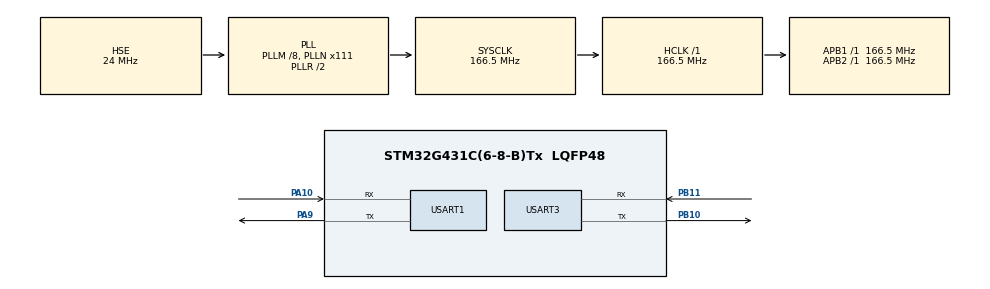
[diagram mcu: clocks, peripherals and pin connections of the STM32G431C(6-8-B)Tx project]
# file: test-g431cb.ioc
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Dma.Request0=USART3_RX
Dma.USART3_RX.0.Direction=DMA_PERIPH_TO_MEMORY
Dma.USART3_RX.0.EventEnable=DISABLE
Dma.USART3_RX.0.Instance=DMA1_Channel1
Dma.USART3_RX.0.MemDataAlignment=DMA_MDATAALIGN_BYTE
Dma.USART3_RX.0.MemInc=DMA_MINC_ENABLE
Dma.USART3_RX.0.Mode=DMA_NORMAL
Dma.USART3_RX.0.PeriphDataAlignment=DMA_PDATAALIGN_BYTE
Dma.USART3_RX.0.PeriphInc=DMA_PINC_DISABLE
Dma.USART3_RX.0.Polarity=HAL_DMAMUX_REQ_GEN_RISING
Dma.USART3_RX.0.Priority=DMA_PRIORITY_LOW
Dma.USART3_RX.0.RequestNumber=1
Dma.USART3_RX.0.SignalID=NONE
Dma.USART3_RX.0.SyncEnable=DISABLE
Dma.USART3_RX.0.SyncPolarity=HAL_DMAMUX_SYNC_NO_EVENT
Dma.USART3_RX.0.SyncRequestNumber=1
Dma.USART3_RX.0.SyncSignalID=NONE
Mcu.Family=STM32G4
Mcu.Name=STM32G431C(6-8-B)Tx
Mcu.Package=LQFP48
NVIC.DMA1_Channel1_IRQn=true\:0\:0\:false\:false\:true\:false\:true\:true
NVIC.PriorityGroup=NVIC_PRIORITYGROUP_4
NVIC.USART3_IRQn=true\:0\:0\:false\:false\:true\:true\:true\:true
PA10.Mode=Asynchronous
PA10.Signal=USART1_RX
PA9.Mode=Asynchronous
PA9.Signal=USART1_TX
PB10.Mode=Asynchronous
PB10.Signal=USART3_TX
PB11.Mode=Asynchronous
PB11.Signal=USART3_RX
PF0-OSC_IN.Mode=HSE-External-Oscillator
PF0-OSC_IN.Signal=RCC_OSC_IN
PF1-OSC_OUT.Mode=HSE-External-Oscillator
PF1-OSC_OUT.Signal=RCC_OSC_OUT
ProjectManager.HeapSize=0x200
ProjectManager.StackSize=0x400
ProjectManager.TargetToolchain=STM32CubeIDE
RCC.ADC12Freq_Value=166500000
RCC.AHBFreq_Value=166500000
RCC.APB1Freq_Value=166500000
RCC.APB1TimFreq_Value=166500000
RCC.APB2Freq_Value=166500000
RCC.APB2TimFreq_Value=166500000
RCC.CortexFreq_Value=166500000
RCC.EXTERNAL_CLOCK_VALUE=12288000
RCC.HCLKFreq_Value=166500000
RCC.HSE_VALUE=24000000
RCC.HSI48_VALUE=48000000
RCC.HSI_VALUE=16000000
RCC.LSE_VALUE=32768
RCC.PLLM=RCC_PLLM_DIV8
RCC.PLLN=111
RCC.PLLSourceVirtual=RCC_PLLSOURCE_HSE
RCC.SYSCLKFreq_VALUE=166500000
RCC.SYSCLKSource=RCC_SYSCLKSOURCE_PLLCLK
RCC.USBFreq_Value=166500000
RCC.VCOOutputFreq_Value=333000000
USART1.VirtualMode-Asynchronous=VM_ASYNC
USART3.VirtualMode-Asynchronous=VM_ASYNC
board=custom

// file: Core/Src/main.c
/* USER CODE BEGIN Header */
/**
  ******************************************************************************
  * @file           : main.c
  * @brief          : Main program body
  ******************************************************************************
  * @attention
  *
  * Copyright (c) 2023 STMicroelectronics.
  * All rights reserved.
  *
  * This software is licensed under terms that can be found in the LICENSE file
  * in the root directory of this software component.
  * If no LICENSE file comes with this software, it is provided AS-IS.
  *
  ******************************************************************************
  */
/* USER CODE END Header */
#include "main.h"
#include "dma.h"
#include "usart.h"
#include "gpio.h"

/* USER CODE BEGIN Includes */
#include "jy901.h"
#include "communication.h"
#include "stdio.h"

#include "atk_ms901m.h"
/* USER CODE END Includes */

/* USER CODE BEGIN PV */
imubuf_t imu_dat;
char str[32];

/* USER CODE END PV */

void SystemClock_Config(void);
/* USER CODE BEGIN PFP */
void delay_us(volatile uint32_t microseconds)
{
  uint32_t clk_cycle_start = DWT->CYCCNT;

  /* Go to number of cycles for system */
  microseconds *= (HAL_RCC_GetHCLKFreq() / 1000000);

  /* Delay till end */
  while ((DWT->CYCCNT - clk_cycle_start) < microseconds);
}

/* USER CODE END PFP */

int main(void)
{

  /* MCU Configuration--------------------------------------------------------*/

  /* Reset of all peripherals, Initializes the Flash interface and the Systick. */
  HAL_Init();

  /* Configure the system clock */
  SystemClock_Config();

  /* Initialize all configured peripherals */
  MX_GPIO_Init();
  MX_DMA_Init();
  MX_USART1_UART_Init();
  MX_USART3_UART_Init();
  /* USER CODE BEGIN 2 */
  jy901_imubuf_init(&imu_dat);
  atk_ms901m_uart_init(115200);
  Communication_Enable(&huart3,UART4_RX_Buffer,BUFFER_LENGTH);
  atk_ms901m_attitude_data_t attitude_dat;
  /* USER CODE END 2 */

  /* Infinite loop */
  /* USER CODE BEGIN WHILE */
  while (1)
  {
    HAL_Delay(1);
    atk_ms901m_get_attitude(&attitude_dat, 0xff);
    sprintf(str, "wtf:%4.1f\n",attitude_dat.yaw);
    //HAL_UART_Transmit(&huart1, str, 16, 0xff);
    HAL_UART_Transmit(&huart1, str, 16, 0xff);
    //HAL_UART_Transmit(&huart1, USART3_RX_Buffer, 16, 0xff);
    //HAL_UART_Transmit(&huart1, "\n", 1, 0xff);
    /* USER CODE END WHILE */

  }
}

void SystemClock_Config(void)
{
  RCC_OscInitTypeDef RCC_OscInitStruct = {0};
  RCC_ClkInitTypeDef RCC_ClkInitStruct = {0};

  /** Configure the main internal regulator output voltage
  */
  HAL_PWREx_ControlVoltageScaling(PWR_REGULATOR_VOLTAGE_SCALE1_BOOST);

  /** Initializes the RCC Oscillators according to the specified parameters
  * in the RCC_OscInitTypeDef structure.
  */
  RCC_OscInitStruct.OscillatorType = RCC_OSCILLATORTYPE_HSE;
  RCC_OscInitStruct.HSEState = RCC_HSE_ON;
  RCC_OscInitStruct.PLL.PLLState = RCC_PLL_ON;
  RCC_OscInitStruct.PLL.PLLSource = RCC_PLLSOURCE_HSE;
  RCC_OscInitStruct.PLL.PLLM = RCC_PLLM_DIV8;
  RCC_OscInitStruct.PLL.PLLN = 111;
  RCC_OscInitStruct.PLL.PLLP = RCC_PLLP_DIV2;
  RCC_OscInitStruct.PLL.PLLQ = RCC_PLLQ_DIV2;
  RCC_OscInitStruct.PLL.PLLR = RCC_PLLR_DIV2;
  if (HAL_RCC_OscConfig(&RCC_OscInitStruct) != HAL_OK)
  {
    Error_Handler();
  }

  /** Initializes the CPU, AHB and APB buses clocks
  */
  RCC_ClkInitStruct.ClockType = RCC_CLOCKTYPE_HCLK|RCC_CLOCKTYPE_SYSCLK
                              |RCC_CLOCKTYPE_PCLK1|RCC_CLOCKTYPE_PCLK2;
  RCC_ClkInitStruct.SYSCLKSource = RCC_SYSCLKSOURCE_PLLCLK;
  RCC_ClkInitStruct.AHBCLKDivider = RCC_SYSCLK_DIV1;
  RCC_ClkInitStruct.APB1CLKDivider = RCC_HCLK_DIV1;
  RCC_ClkInitStruct.APB2CLKDivider = RCC_HCLK_DIV1;

  if (HAL_RCC_ClockConfig(&RCC_ClkInitStruct, FLASH_LATENCY_4) != HAL_OK)
  {
    Error_Handler();
  }
}

void Error_Handler(void)
{
  __disable_irq();
  while (1)
  {
  }
}
